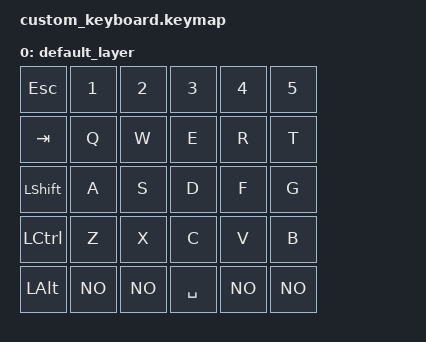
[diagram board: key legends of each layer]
#include <behaviors.dtsi>
#include <dt-bindings/zmk/keys.h>

/ {
    keymap {
        compatible = "zmk,keymap";

        default_layer {
            bindings = <
                &kp ESC  &kp 1    &kp 2    &kp 3    &kp 4    &kp 5
                &kp TAB  &kp Q    &kp W    &kp E    &kp R    &kp T
                &kp LSHFT &kp A    &kp S    &kp D    &kp F    &kp G
                &kp LCTRL &kp Z    &kp X    &kp C    &kp V    &kp B
                &kp LALT  &kp NO    &kp NO    &kp SPC  &kp NO    &kp NO
            >;
        };
    };
};
